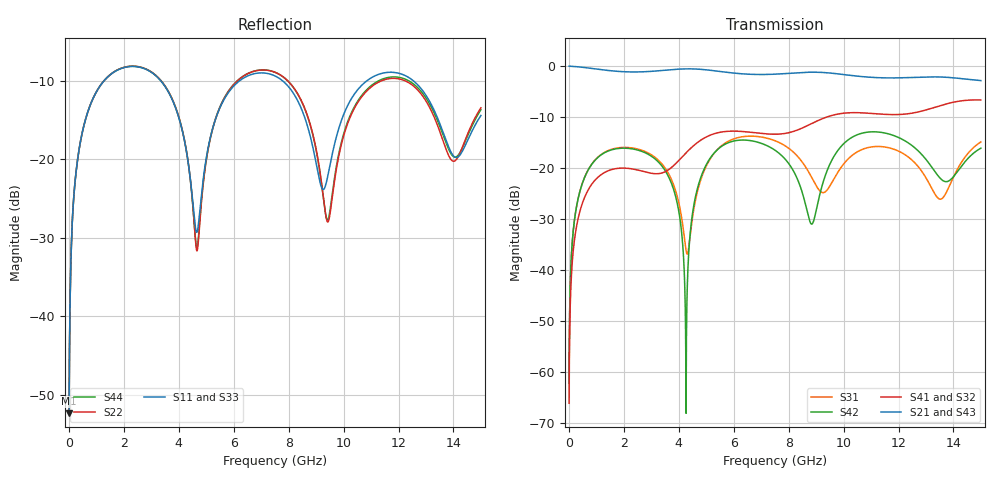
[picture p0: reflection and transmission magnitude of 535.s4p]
! Created with skrf 1.8.0 (http://scikit-rf.org).
# GHz S RI R 50.0
!freq ReS11 ImS11 ReS12 ImS12 ReS13 ImS13
! ReS14 ImS14
! ReS21 ImS21 ReS22 ImS22 ReS23 ImS23
! ReS24 ImS24
! ReS31 ImS31 ReS32 ImS32 ReS33 ImS33
! ReS34 ImS34
! ReS41 ImS41 ReS42 ImS42 ReS43 ImS43
! ReS44 ImS44
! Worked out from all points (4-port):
!   2499 points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, 5 MHz to 15 GHz, reference 50 ohm
!   strongest paths, dB at 5 MHz, 3.476 GHz, 7.19 GHz, 11.1 GHz, 15 GHz:
!     S21: 0.0, -0.8, -1.6, -2.2, -2.8
!     S43: 0.0, -0.8, -1.6, -2.3, -2.8
!     S41: -66.2, -20.8, -13.3, -9.3, -6.6
!     S32: -66.2, -20.8, -13.3, -9.3, -6.7
!     S42: -62.2, -20.3, -15.6, -12.9, -16.1
!     S31: -62.2, -19.8, -14.1, -15.8, -14.9
!   lowest |S11| = -52.3 dB at 5 MHz (marker M1), VSWR 1.00, Z = 50.2 + j0.147 ohm
!   |S11| at or under -10 dB: 3.347 GHz to 6.203 GHz (2.856 GHz wide, 59.8 % of centre); 7.786 GHz to 10.84 GHz (3.053 GHz wide, 32.8 % of centre); 12.55 GHz to end of sweep (the widest 3 of 4)
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0.005  0.00192 0.00146  0.998 -0.00374  9.79e-05 0.000772  -9.49e-05 -0.000483
       0.998 -0.00374  0.00192 0.00146  -9.49e-05 -0.000483  9.78e-05 0.000772
       9.79e-05 0.000772  -9.49e-05 -0.000483  0.00192 0.00146  0.998 -0.00374
       -9.49e-05 -0.000483  9.78e-05 0.000772  0.998 -0.00374  0.00192 0.00146
0.3126303  0.0315 0.0945  0.9568 -0.2311  0.0151 0.0448  -0.0124 -0.0275
           0.9568 -0.2311  0.0316 0.0945  -0.0124 -0.0275  0.0147 0.0449
           0.0151 0.0448  -0.0124 -0.0275  0.0315 0.0945  0.9568 -0.2311
           -0.0124 -0.0275  0.0147 0.0449  0.9568 -0.2311  0.0316 0.0945
1.369321  0.2805 0.1736  0.5249 -0.7424  0.135 0.0557  -0.0925 -0.00211
          0.5249 -0.7424  0.2821 0.1725  -0.0924 -0.0022  0.1307 0.0617
          0.135 0.0557  -0.0924 -0.0022  0.2805 0.1735  0.5249 -0.7424
          -0.0925 -0.00211  0.1307 0.0617  0.5249 -0.7424  0.282 0.1725
4.258024  0.0606 -0.1009  -0.8796 -0.3282  -0.0137 -0.00805  -0.044 0.1332
          -0.8796 -0.3282  0.0535 -0.1061  -0.0452 0.1328  -0.000179 -0.000745
          -0.0137 -0.00805  -0.0452 0.1328  0.0594 -0.1007  -0.8797 -0.328
          -0.044 0.1332  -0.000179 -0.000745  -0.8797 -0.328  0.0542 -0.1051
5.364735  0.1244 0.1392  -0.815 0.3689  0.1075 0.1013  0.1206 0.1839
          -0.815 0.3689  0.1197 0.1436  0.119 0.1849  0.1008 0.1081
          0.1075 0.1013  0.119 0.1849  0.1238 0.1408  -0.8148 0.3691
          0.1206 0.1839  0.1008 0.1081  -0.8148 0.3691  0.1213 0.1436
9.416424  0.0684 0.0357  0.854 0.0926  -0.0374 0.049  0.0217 -0.3175
          0.854 0.0926  0.0397 -0.0049  0.027 -0.317  0.0644 0.0721
          -0.0374 0.049  0.027 -0.317  0.0663 0.0388  0.854 0.092
          0.0217 -0.3175  0.0644 0.0721  0.854 0.092  0.0411 -0.00236
15  0.1712 0.0837  -0.6688 0.2678  0.1653 0.0722  0.2213 0.4094
    -0.6688 0.2678  0.1823 0.1105  0.2096 0.4149  0.1283 0.0898
    0.1653 0.0722  0.2096 0.4149  0.169 0.081  -0.6714 0.2642
    0.2213 0.4094  0.1283 0.0898  -0.6714 0.2642  0.1807 0.1021
